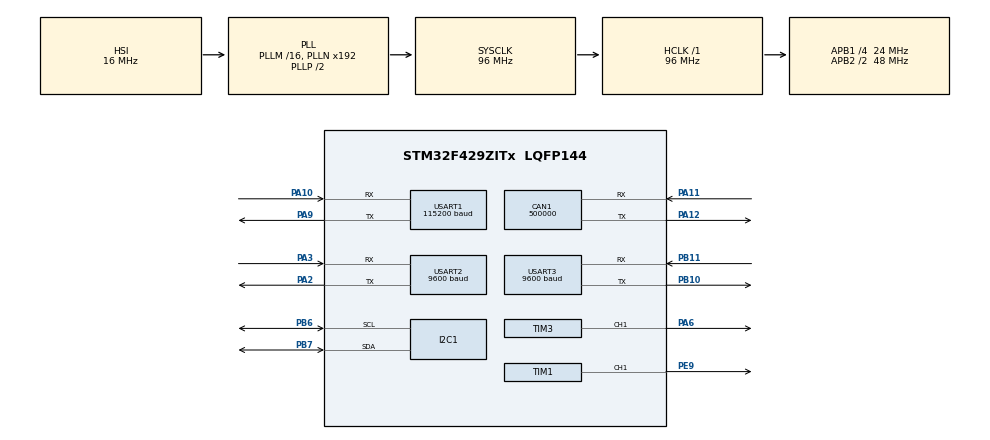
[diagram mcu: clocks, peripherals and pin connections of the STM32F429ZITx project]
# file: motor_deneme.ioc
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CAN1.BS1=CAN_BS1_1TQ
CAN1.BS2=CAN_BS2_1TQ
CAN1.CalculateBaudRate=500000
CAN1.CalculateTimeBit=2000
CAN1.CalculateTimeQuantum=666.6666666666666
Mcu.Family=STM32F4
Mcu.Name=STM32F429ZITx
Mcu.Package=LQFP144
NVIC.PriorityGroup=NVIC_PRIORITYGROUP_4
PA10.GPIO_PuPd=GPIO_PULLUP
PA10.Mode=Asynchronous
PA10.Signal=USART1_RX
PA11.Mode=CAN_Activate
PA11.Signal=CAN1_RX
PA12.Mode=CAN_Activate
PA12.Signal=CAN1_TX
PA13.Mode=Serial_Wire
PA13.Signal=SYS_JTMS-SWDIO
PA14.Mode=Serial_Wire
PA14.Signal=SYS_JTCK-SWCLK
PA2.Mode=Asynchronous
PA2.Signal=USART2_TX
PA3.Mode=Asynchronous
PA3.Signal=USART2_RX
PA6.Signal=S_TIM3_CH1
PA9.Mode=Asynchronous
PA9.Signal=USART1_TX
PB10.Mode=Asynchronous
PB10.Signal=USART3_TX
PB11.Mode=Asynchronous
PB11.Signal=USART3_RX
PB6.Mode=I2C
PB6.Signal=I2C1_SCL
PB7.Mode=I2C
PB7.Signal=I2C1_SDA
PE9.Signal=S_TIM1_CH1
ProjectManager.HeapSize=0x200
ProjectManager.StackSize=0x400
ProjectManager.TargetToolchain=STM32CubeIDE
RCC.AHBFreq_Value=96000000
RCC.APB1CLKDivider=RCC_HCLK_DIV4
RCC.APB1Freq_Value=24000000
RCC.APB1TimFreq_Value=48000000
RCC.APB2CLKDivider=RCC_HCLK_DIV2
RCC.APB2Freq_Value=48000000
RCC.APB2TimFreq_Value=96000000
RCC.CortexFreq_Value=96000000
RCC.HCLKFreq_Value=96000000
RCC.HSE_VALUE=25000000
RCC.HSI_VALUE=16000000
RCC.LSE_VALUE=32768
RCC.SYSCLKFreq_VALUE=96000000
RCC.SYSCLKSource=RCC_SYSCLKSOURCE_PLLCLK
RCC.VCOOutputFreq_Value=192000000
SH.S_TIM1_CH1.0=TIM1_CH1,PWM Generation1 CH1
SH.S_TIM3_CH1.0=TIM3_CH1,PWM Generation1 CH1
TIM1.Channel-PWM\ Generation1\ CH1=TIM_CHANNEL_1
TIM1.Period=1000-1
TIM1.Prescaler=960-1
TIM2.Period=2-1
TIM2.Prescaler=48000-1
TIM3.Channel-PWM\ Generation1\ CH1=TIM_CHANNEL_1
TIM3.Period=1000-1
TIM3.Prescaler=960-1
USART1.BaudRate=115200
USART1.VirtualMode=VM_ASYNC
USART2.BaudRate=9600
USART2.VirtualMode=VM_ASYNC
USART3.BaudRate=9600
USART3.VirtualMode=VM_ASYNC
VP_TIM2_VS_ClockSourceINT.Mode=Internal
board=custom

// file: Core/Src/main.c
/* USER CODE BEGIN Header */
/**
  ******************************************************************************
  * @file           : main.c
  * @brief          : Main program body
  ******************************************************************************
  * @attention
  *
  * Copyright (c) 2025 STMicroelectronics.
  * All rights reserved.
  *
  * This software is licensed under terms that can be found in the LICENSE file
  * in the root directory of this software component.
  * If no LICENSE file comes with this software, it is provided AS-IS.
  *
  ******************************************************************************
  */
/* USER CODE END Header */
#include "main.h"

/* USER CODE BEGIN Includes */

#include "pwm_controller.h"
#include "command.h"
#include <stdio.h>
#include <stdlib.h>
#include <string.h>
#include <math.h>
#include <ctype.h>
#include "PCA9685.h"
#include "ik.h"

/* USER CODE END Includes */

/* USER CODE BEGIN PD */

#define MOTOR_SPEED   0x01
#define MOTOR_POSITION  0x02
#define START_CODE_BYTE   0xFF

#define SERVO_CHANNEL_0   0
#define SERVO_CHANNEL_1   1
#define SERVO_CHANNEL_2   2
#define SERVO_CHANNEL_3   3
#define SERVO_CHANNEL_4   4
#define SERVO_CHANNEL_5   5

#define RX_BUFF_SIZE  16

#define command_length  2

/* USER CODE END PD */

CAN_HandleTypeDef hcan1;

I2C_HandleTypeDef hi2c1;

TIM_HandleTypeDef htim1;
TIM_HandleTypeDef htim2;
TIM_HandleTypeDef htim3;

UART_HandleTypeDef huart1;
UART_HandleTypeDef huart2;
UART_HandleTypeDef huart3;

/* USER CODE BEGIN PV */

volatile uint8_t motor_angle[4];

char msg[192];

uint8_t commands[command_length];

uint8_t rx_buffer[RX_BUFF_SIZE];

volatile uint16_t rx_head = 0;
volatile uint16_t rx_tail = 0;
volatile uint8_t rx_index=0;
volatile int cmd_ready = 0;
int cmd;
int sayac=0;
int prev_sayac=0;

uint8_t command_ready = 1;
uint8_t last_cmd;

float shoulder, hip, knee;
float L1 = 120.0f; // uyluk uzunluğu (mm)
float L2 = 120.0f; // kaval uzunluğu (mm)

float q_shoulder;
float q_hip;
float q_knee;

/* USER CODE END PV */

void SystemClock_Config(void);
static void MX_GPIO_Init(void);
static void MX_TIM1_Init(void);
static void MX_I2C1_Init(void);
static void MX_USART1_UART_Init(void);
static void MX_TIM2_Init(void);
static void MX_CAN1_Init(void);
static void MX_TIM3_Init(void);
static void MX_USART2_UART_Init(void);
static void MX_USART3_UART_Init(void);
/* USER CODE BEGIN PFP */

#define PUTCHAR_PROTOTYPE int __io_putchar(int ch)
void parse_angles(char *data);

/* USER CODE END PFP */

/* USER CODE BEGIN 0 */

//int __io_putchar(int ch)
//{
//    HAL_UART_Transmit(&huart1, (uint8_t*)&ch, 1, HAL_MAX_DELAY);
//    return ch;
//}

/* USER CODE END 0 */

int main(void)
{

  /* MCU Configuration--------------------------------------------------------*/

  /* Reset of all peripherals, Initializes the Flash interface and the Systick. */
  HAL_Init();

  /* Configure the system clock */
  SystemClock_Config();

  /* Initialize all configured peripherals */
  MX_GPIO_Init();
  MX_TIM1_Init();
  MX_I2C1_Init();
  MX_USART1_UART_Init();
  MX_TIM2_Init();
  MX_CAN1_Init();
  MX_TIM3_Init();
  MX_USART2_UART_Init();
  MX_USART3_UART_Init();
  /* USER CODE BEGIN 2 */

//  HAL_TIM_PWM_Init(&htim1);
//  PCA9685_Init(50); // 50Hz for servo
//  HAL_Delay(50);
//  HAL_TIM_Base_Start_IT(&htim2);
//
  USART1->CR1 |= USART_CR1_RXNEIE; // RXNE interrupt enable
  NVIC_EnableIRQ(USART1_IRQn);     // NVIC'te USART1 enable

//  PCA9685_SetServoAngle(5, 0);
//  PCA9685_SetServoAngle(10, 0);
//  PCA9685_SetServoAngle(13, 0);
//  PCA9685_SetServoAngle(2, 0);
//  HAL_Delay(1500);

//  HAL_UART_Receive_IT(&huart1, &rx_buffer[rx_index], 1);

//  process();
//    PCA9685_SetServoAngle(0, 60); // 0.83 ms ccr=42
//    PCA9685_SetServoAngle(1, 120); //1.66 ms ccr = 83
//    HAL_Delay(2000);
//    PCA9685_SetServoAngle(0, 90);
//    PCA9685_SetServoAngle(1, 90); // 1.25 ms ccr = 63
//    HAL_Delay(2000);

  //  HAL_TIM_PWM_Start(&htim1, TIM_CHANNEL_1);
  //  HAL_TIM_PWM_Start(&htim1, TIM_CHANNEL_2);
  //  HAL_Delay(20);
  //  __HAL_TIM_SET_COMPARE(&htim1,TIM_CHANNEL_1,42);
  //  __HAL_TIM_SET_COMPARE(&htim3,TIM_CHANNEL_1,83);
  //  HAL_Delay(2000);
   // __HAL_TIM_SET_COMPARE(&htim1,TIM_CHANNEL_1,22);
   // __HAL_TIM_SET_COMPARE(&htim3,TIM_CHANNEL_1,63);

//  uint8_t eraseData[4];
//  eraseData[0] = 0x55;
//  eraseData[1] = 0x55;
//  eraseData[2] = 0x02;   // Length
//  eraseData[3] = 0x05;   // CMD: Chip Erase
//  HAL_UART_Transmit(&huart1, eraseData, 4, 100);

// out of action mode
//  Servo_SendPacket(0x0B, 0x00, 1);  // Stop
//  HAL_Delay(50);
//  Servo_SendPacket(0x0B, 0x00, 0);  // Resume
//  HAL_Delay(50);

  Servo_Init();  // açılışta her şeyi nötrle

  HAL_Delay(100);
  sprintf(msg,"DRIVE THE ROBOT => press 1 for forward , press 2 to turn right , press 3 to turn left, press 4 for laydown, press 5 for get up.\r\n ");
  HAL_UART_Transmit(&huart1, (uint8_t *)msg, strlen(msg), HAL_MAX_DELAY);

   //Move_Servos(SERVO_CHANNEL_0, 5);

  /* USER CODE END 2 */

  /* Infinite loop */
  while (1)
  {

    /* USER CODE BEGIN 3 */
   // StepForward();

    if((cmd_ready!=0) && (command_ready == 1)){

      if((last_cmd ==4) && (cmd_ready !=4))
      {
        get_up();

      }

      ExecuteCommand(cmd);

    }

}

}

  /* USER CODE END 3 */

void SystemClock_Config(void)
{
  RCC_OscInitTypeDef RCC_OscInitStruct = {0};
  RCC_ClkInitTypeDef RCC_ClkInitStruct = {0};

  /** Configure the main internal regulator output voltage
  */
  __HAL_RCC_PWR_CLK_ENABLE();
  __HAL_PWR_VOLTAGESCALING_CONFIG(PWR_REGULATOR_VOLTAGE_SCALE3);

  /** Initializes the RCC Oscillators according to the specified parameters
  * in the RCC_OscInitTypeDef structure.
  */
  RCC_OscInitStruct.OscillatorType = RCC_OSCILLATORTYPE_HSI;
  RCC_OscInitStruct.HSIState = RCC_HSI_ON;
  RCC_OscInitStruct.HSICalibrationValue = RCC_HSICALIBRATION_DEFAULT;
  RCC_OscInitStruct.PLL.PLLState = RCC_PLL_ON;
  RCC_OscInitStruct.PLL.PLLSource = RCC_PLLSOURCE_HSI;
  RCC_OscInitStruct.PLL.PLLM = 16;
  RCC_OscInitStruct.PLL.PLLN = 192;
  RCC_OscInitStruct.PLL.PLLP = RCC_PLLP_DIV2;
  RCC_OscInitStruct.PLL.PLLQ = 4;
  if (HAL_RCC_OscConfig(&RCC_OscInitStruct) != HAL_OK)
  {
    Error_Handler();
  }

  /** Initializes the CPU, AHB and APB buses clocks
  */
  RCC_ClkInitStruct.ClockType = RCC_CLOCKTYPE_HCLK|RCC_CLOCKTYPE_SYSCLK
                              |RCC_CLOCKTYPE_PCLK1|RCC_CLOCKTYPE_PCLK2;
  RCC_ClkInitStruct.SYSCLKSource = RCC_SYSCLKSOURCE_PLLCLK;
  RCC_ClkInitStruct.AHBCLKDivider = RCC_SYSCLK_DIV1;
  RCC_ClkInitStruct.APB1CLKDivider = RCC_HCLK_DIV4;
  RCC_ClkInitStruct.APB2CLKDivider = RCC_HCLK_DIV2;

  if (HAL_RCC_ClockConfig(&RCC_ClkInitStruct, FLASH_LATENCY_3) != HAL_OK)
  {
    Error_Handler();
  }
}

static void MX_CAN1_Init(void)
{

  hcan1.Instance = CAN1;
  hcan1.Init.Prescaler = 16;
  hcan1.Init.Mode = CAN_MODE_NORMAL;
  hcan1.Init.SyncJumpWidth = CAN_SJW_1TQ;
  hcan1.Init.TimeSeg1 = CAN_BS1_1TQ;
  hcan1.Init.TimeSeg2 = CAN_BS2_1TQ;
  hcan1.Init.TimeTriggeredMode = DISABLE;
  hcan1.Init.AutoBusOff = DISABLE;
  hcan1.Init.AutoWakeUp = DISABLE;
  hcan1.Init.AutoRetransmission = DISABLE;
  hcan1.Init.ReceiveFifoLocked = DISABLE;
  hcan1.Init.TransmitFifoPriority = DISABLE;
  if (HAL_CAN_Init(&hcan1) != HAL_OK)
  {
    Error_Handler();
  }

}

static void MX_I2C1_Init(void)
{

  hi2c1.Instance = I2C1;
  hi2c1.Init.ClockSpeed = 100000;
  hi2c1.Init.DutyCycle = I2C_DUTYCYCLE_2;
  hi2c1.Init.OwnAddress1 = 0;
  hi2c1.Init.AddressingMode = I2C_ADDRESSINGMODE_7BIT;
  hi2c1.Init.DualAddressMode = I2C_DUALADDRESS_DISABLE;
  hi2c1.Init.OwnAddress2 = 0;
  hi2c1.Init.GeneralCallMode = I2C_GENERALCALL_DISABLE;
  hi2c1.Init.NoStretchMode = I2C_NOSTRETCH_DISABLE;
  if (HAL_I2C_Init(&hi2c1) != HAL_OK)
  {
    Error_Handler();
  }

  /** Configure Analogue filter
  */
  if (HAL_I2CEx_ConfigAnalogFilter(&hi2c1, I2C_ANALOGFILTER_ENABLE) != HAL_OK)
  {
    Error_Handler();
  }

  /** Configure Digital filter
  */
  if (HAL_I2CEx_ConfigDigitalFilter(&hi2c1, 0) != HAL_OK)
  {
    Error_Handler();
  }

}

static void MX_TIM1_Init(void)
{

  TIM_MasterConfigTypeDef sMasterConfig = {0};
  TIM_OC_InitTypeDef sConfigOC = {0};
  TIM_BreakDeadTimeConfigTypeDef sBreakDeadTimeConfig = {0};

  htim1.Instance = TIM1;
  htim1.Init.Prescaler = 960-1;
  htim1.Init.CounterMode = TIM_COUNTERMODE_UP;
  htim1.Init.Period = 1000-1;
  htim1.Init.ClockDivision = TIM_CLOCKDIVISION_DIV1;
  htim1.Init.RepetitionCounter = 0;
  htim1.Init.AutoReloadPreload = TIM_AUTORELOAD_PRELOAD_DISABLE;
  if (HAL_TIM_PWM_Init(&htim1) != HAL_OK)
  {
    Error_Handler();
  }
  sMasterConfig.MasterOutputTrigger = TIM_TRGO_RESET;
  sMasterConfig.MasterSlaveMode = TIM_MASTERSLAVEMODE_DISABLE;
  if (HAL_TIMEx_MasterConfigSynchronization(&htim1, &sMasterConfig) != HAL_OK)
  {
    Error_Handler();
  }
  sConfigOC.OCMode = TIM_OCMODE_PWM1;
  sConfigOC.Pulse = 0;
  sConfigOC.OCPolarity = TIM_OCPOLARITY_HIGH;
  sConfigOC.OCNPolarity = TIM_OCNPOLARITY_HIGH;
  sConfigOC.OCFastMode = TIM_OCFAST_DISABLE;
  sConfigOC.OCIdleState = TIM_OCIDLESTATE_RESET;
  sConfigOC.OCNIdleState = TIM_OCNIDLESTATE_RESET;
  if (HAL_TIM_PWM_ConfigChannel(&htim1, &sConfigOC, TIM_CHANNEL_1) != HAL_OK)
  {
    Error_Handler();
  }
  sBreakDeadTimeConfig.OffStateRunMode = TIM_OSSR_DISABLE;
  sBreakDeadTimeConfig.OffStateIDLEMode = TIM_OSSI_DISABLE;
  sBreakDeadTimeConfig.LockLevel = TIM_LOCKLEVEL_OFF;
  sBreakDeadTimeConfig.DeadTime = 0;
  sBreakDeadTimeConfig.BreakState = TIM_BREAK_DISABLE;
  sBreakDeadTimeConfig.BreakPolarity = TIM_BREAKPOLARITY_HIGH;
  sBreakDeadTimeConfig.AutomaticOutput = TIM_AUTOMATICOUTPUT_DISABLE;
  if (HAL_TIMEx_ConfigBreakDeadTime(&htim1, &sBreakDeadTimeConfig) != HAL_OK)
  {
    Error_Handler();
  }
  HAL_TIM_MspPostInit(&htim1);

}

static void MX_TIM2_Init(void)
{

  TIM_ClockConfigTypeDef sClockSourceConfig = {0};
  TIM_MasterConfigTypeDef sMasterConfig = {0};

  htim2.Instance = TIM2;
  htim2.Init.Prescaler = 48000-1;
  htim2.Init.CounterMode = TIM_COUNTERMODE_UP;
  htim2.Init.Period = 2-1;
  htim2.Init.ClockDivision = TIM_CLOCKDIVISION_DIV1;
  htim2.Init.AutoReloadPreload = TIM_AUTORELOAD_PRELOAD_DISABLE;
  if (HAL_TIM_Base_Init(&htim2) != HAL_OK)
  {
    Error_Handler();
  }
  sClockSourceConfig.ClockSource = TIM_CLOCKSOURCE_INTERNAL;
  if (HAL_TIM_ConfigClockSource(&htim2, &sClockSourceConfig) != HAL_OK)
  {
    Error_Handler();
  }
  sMasterConfig.MasterOutputTrigger = TIM_TRGO_RESET;
  sMasterConfig.MasterSlaveMode = TIM_MASTERSLAVEMODE_DISABLE;
  if (HAL_TIMEx_MasterConfigSynchronization(&htim2, &sMasterConfig) != HAL_OK)
  {
    Error_Handler();
  }

}

static void MX_TIM3_Init(void)
{

  TIM_MasterConfigTypeDef sMasterConfig = {0};
  TIM_OC_InitTypeDef sConfigOC = {0};

  htim3.Instance = TIM3;
  htim3.Init.Prescaler = 960-1;
  htim3.Init.CounterMode = TIM_COUNTERMODE_UP;
  htim3.Init.Period = 1000-1;
  htim3.Init.ClockDivision = TIM_CLOCKDIVISION_DIV1;
  htim3.Init.AutoReloadPreload = TIM_AUTORELOAD_PRELOAD_DISABLE;
  if (HAL_TIM_PWM_Init(&htim3) != HAL_OK)
  {
    Error_Handler();
  }
  sMasterConfig.MasterOutputTrigger = TIM_TRGO_RESET;
  sMasterConfig.MasterSlaveMode = TIM_MASTERSLAVEMODE_DISABLE;
  if (HAL_TIMEx_MasterConfigSynchronization(&htim3, &sMasterConfig) != HAL_OK)
  {
    Error_Handler();
  }
  sConfigOC.OCMode = TIM_OCMODE_PWM1;
  sConfigOC.Pulse = 0;
  sConfigOC.OCPolarity = TIM_OCPOLARITY_HIGH;
  sConfigOC.OCFastMode = TIM_OCFAST_DISABLE;
  if (HAL_TIM_PWM_ConfigChannel(&htim3, &sConfigOC, TIM_CHANNEL_1) != HAL_OK)
  {
    Error_Handler();
  }
  HAL_TIM_MspPostInit(&htim3);

}

static void MX_USART1_UART_Init(void)
{

  huart1.Instance = USART1;
  huart1.Init.BaudRate = 115200;
  huart1.Init.WordLength = UART_WORDLENGTH_8B;
  huart1.Init.StopBits = UART_STOPBITS_1;
  huart1.Init.Parity = UART_PARITY_NONE;
  huart1.Init.Mode = UART_MODE_TX_RX;
  huart1.Init.HwFlowCtl = UART_HWCONTROL_NONE;
  huart1.Init.OverSampling = UART_OVERSAMPLING_16;
  if (HAL_UART_Init(&huart1) != HAL_OK)
  {
    Error_Handler();
  }

}

static void MX_USART2_UART_Init(void)
{

  huart2.Instance = USART2;
  huart2.Init.BaudRate = 9600;
  huart2.Init.WordLength = UART_WORDLENGTH_8B;
  huart2.Init.StopBits = UART_STOPBITS_1;
  huart2.Init.Parity = UART_PARITY_NONE;
  huart2.Init.Mode = UART_MODE_TX_RX;
  huart2.Init.HwFlowCtl = UART_HWCONTROL_NONE;
  huart2.Init.OverSampling = UART_OVERSAMPLING_16;
  if (HAL_UART_Init(&huart2) != HAL_OK)
  {
    Error_Handler();
  }

}

static void MX_USART3_UART_Init(void)
{

  huart3.Instance = USART3;
  huart3.Init.BaudRate = 9600;
  huart3.Init.WordLength = UART_WORDLENGTH_8B;
  huart3.Init.StopBits = UART_STOPBITS_1;
  huart3.Init.Parity = UART_PARITY_NONE;
  huart3.Init.Mode = UART_MODE_TX_RX;
  huart3.Init.HwFlowCtl = UART_HWCONTROL_NONE;
  huart3.Init.OverSampling = UART_OVERSAMPLING_16;
  if (HAL_UART_Init(&huart3) != HAL_OK)
  {
    Error_Handler();
  }

}

static void MX_GPIO_Init(void)
{

  /* GPIO Ports Clock Enable */
  __HAL_RCC_GPIOA_CLK_ENABLE();
  __HAL_RCC_GPIOE_CLK_ENABLE();
  __HAL_RCC_GPIOB_CLK_ENABLE();

}

/* USER CODE BEGIN 4 */

void USART1_IRQHandler(void)
{
    if (USART1->SR & USART_SR_RXNE)
    {
        char data = USART1->DR;  // gelen byte

        if (isdigit((unsigned char)data) || (data == '-') || (data == ','))
        {
            uint16_t next_head = (rx_head + 1) % RX_BUFF_SIZE;
            if (next_head != rx_tail) {
                rx_buffer[rx_head] = data;
                rx_head = next_head;
            }
        }
        else if (data == '\r' || data == '\n')
        {
            // string sonlandır
            rx_buffer[rx_head] = '\0';
            parse_angles((char *)rx_buffer);
            rx_head = 0;
        }
        else{

          sprintf(msg,"\r\ninvalid key.\r\n");
          HAL_UART_Transmit(&huart1, (uint8_t *)msg, strlen(msg), HAL_MAX_DELAY);
        }

    }
}

void parse_angles(char *data)
{

    char *token = strtok(data, ",");
    int i = 0;

    while (token != NULL && i < (sizeof(commands)/sizeof(commands[0])))
    {
        commands[i] = atof(token);
        token = strtok(NULL, ",");
        i++;
    }

    cmd = atoi(data);  // string'i int'e çevir
    cmd_ready = cmd;       // sadece flag ata

}

//void HAL_TIM_PeriodElapsedCallback(TIM_HandleTypeDef *htim)
//{
//
//  for(int i=0 ; i < 3; i++){
//
//    if(i==0){
//
//      motor_angle[i] += 1;
//    }
//
//    if(i==1){
//
//          motor_angle[i] += 2;
//        }
//
//    if(i==2){
//
//          motor_angle[i] += 0.5;
//        }
//
//    if(motor_angle[2]>160)
//    {
//      if(i==2){
//
//            motor_angle[i] -= 0.5;
//       }
//
//    }
//
//    if((motor_angle[2]>=0) && (motor_angle[2]<160))
//        {
//          if(i==2){
//
//                motor_angle[i] += 0.5;
//
//           }
//        }
//
//  }
//
//  for(int i=0;i<3;i++){
//
//    if(motor_angle[i] <= 0){
//
//      motor_angle[i]=0;
//    }
//
//    if((0 < motor_angle[i]) && (motor_angle[i] < 180)){
//
//      motor_dir[i]=0;
//    }
//
//    if(motor_angle[i] >= 180){
//
//      motor_angle[i]=180;
//
//    }
//
//  }
//
//
//
//
//  for(int i=0;i<3;i++){
//    if(i==0){
//      motor_angle[i]-=10;
//      PCA9685_SetServoAngle(i, motor_angle[i]);
//
//    }
//    if(i==1){
//      motor_angle[i]-=20;
//      PCA9685_SetServoAngle(i, motor_angle[i]);
//
//        }
//
//    if(i==2){
//      motor_angle[i]-=25;
//      PCA9685_SetServoAngle(i, motor_angle[i]);
//
//    }
//
//  }
//}

//void HAL_UART_RxCpltCallback(UART_HandleTypeDef *huart)
//{
//
//  if(huart->Instance == USART1)
//     {
//         if(rx_buffer[rx_index] == '\r') // Satır sonu gelirse
//         {
//             rx_buffer[rx_index] = '\0'; // String sonu koy
//             parse_angles((char*)rx_buffer);
//             rx_index = 0;
//         }
//         else
//         {
//             rx_index++;
//         }
//
//         // Tekrar interrupt başlat
//         HAL_UART_Receive_IT(&huart1, &rx_buffer[rx_index], 1);
//     }
//
//
//
//}

//void USART1_IRQHandler(void)
//{
//
//
//    if (USART1->SR & USART_SR_RXNE)
//    {
//        char data = USART1->DR;
//
//
//        uint16_t next_head = (rx_head + 1) % RX_BUF_SIZE;
//
//
//
//        if (next_head != rx_tail)
//        {
//
//            if (isdigit((unsigned char)data) || data == '.' || data == '-' || data == ',' || data == '\n' || data == '\r')
//            {
//                  rx_buffer[rx_head] = data;
//                  rx_head = next_head;
//            }
//            if((rx_buffer[rx_head-1]=='\n') || (rx_buffer[rx_head-1]=='\r'))
//            {
//                  rx_buffer[rx_head-1]='\0';
//                  parse_angles((char *)rx_buffer);
//                  rx_head = 0;
//
//
//
//            }
//
//
//        }
//    }
//}

// Bir satır veri oku (Enter gelene kadar)
//int uart_read_line(char *dest, int max_len)
//{
//    int count = 0;
//
//    while (rx_tail != rx_head && count < max_len - 1)
//    {
//        char c = rx_buffer[rx_tail];
//        rx_tail = (rx_tail + 1) % RX_BUF_SIZE;
//
//        if (c == '\n' || c == '\r')
//        {
//
//            if (count > 0) // boş satır değilse
//            {
//                dest[count] = '\0';
//
//                return count;
//            }
//            else
//            {
//                return 0;
//            }
//        }
//        dest[count++] = c;
//    }
//    return 0;
//}

//void parse_angles(char *data)
//{
//   sayac++;
//
//
//   char *token = strtok(data, ",");
//   int i = 0;
//
//   if (prev_sayac != sayac){
//
//     for (int i = 0; i < sizeof(motor_angle); i++){
//
//         motor_angle[i]=0;
//     }
//
//
//   }
//
//   while (token != NULL && i < 4)
//   {
//        motor_angle[i] = atof(token);
//        token = strtok(NULL, ",");
//        i++;
//
//   }
//
//   prev_sayac = sayac;
//
//   for (int i = 0; i < sizeof(rx_buffer); i++)
//   {
//
//         rx_buffer[i]=0;
//   }
//
//}

/* USER CODE END 4 */

void Error_Handler(void)
{
  __disable_irq();
  while (1)
  {
  }
}
